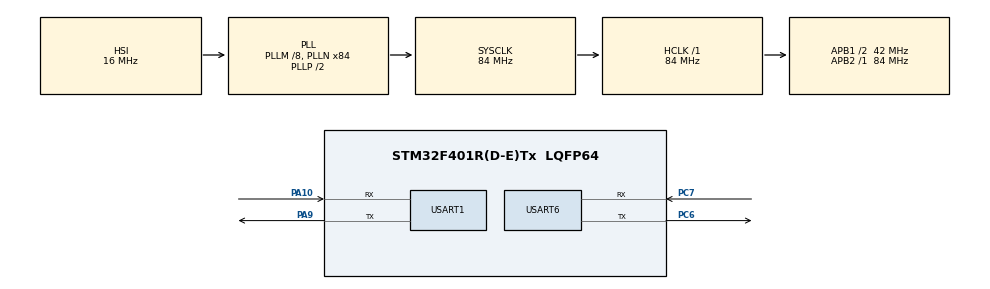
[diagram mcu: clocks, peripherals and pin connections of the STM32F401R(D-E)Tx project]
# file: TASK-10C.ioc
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Mcu.Family=STM32F4
Mcu.Name=STM32F401R(D-E)Tx
Mcu.Package=LQFP64
NVIC.PriorityGroup=NVIC_PRIORITYGROUP_4
NVIC.USART1_IRQn=true\:0\:0\:false\:false\:true\:true\:true\:true
PA10.Mode=Asynchronous
PA10.Signal=USART1_RX
PA13.Mode=Serial_Wire
PA13.Signal=SYS_JTMS-SWDIO
PA14.Mode=Serial_Wire
PA14.Signal=SYS_JTCK-SWCLK
PA9.Mode=Asynchronous
PA9.Signal=USART1_TX
PC6.Mode=Asynchronous
PC6.Signal=USART6_TX
PC7.Mode=Asynchronous
PC7.Signal=USART6_RX
PH0\ -\ OSC_IN.Mode=HSE-External-Clock-Source
PH0\ -\ OSC_IN.Signal=RCC_OSC_IN
PH1\ -\ OSC_OUT.Mode=HSE-External-Clock-Source
PH1\ -\ OSC_OUT.Signal=RCC_OSC_OUT
ProjectManager.HeapSize=0x200
ProjectManager.StackSize=0x400
ProjectManager.TargetToolchain=MDK-ARM V5.32
RCC.48MHZClocksFreq_Value=42000000
RCC.AHBFreq_Value=84000000
RCC.APB1CLKDivider=RCC_HCLK_DIV2
RCC.APB1Freq_Value=42000000
RCC.APB1TimFreq_Value=84000000
RCC.APB2Freq_Value=84000000
RCC.APB2TimFreq_Value=84000000
RCC.CortexFreq_Value=84000000
RCC.HCLKFreq_Value=84000000
RCC.HSE_VALUE=25000000
RCC.HSI_VALUE=16000000
RCC.LSE_VALUE=32768
RCC.PLLM=8
RCC.PLLN=84
RCC.SYSCLKFreq_VALUE=84000000
RCC.SYSCLKSource=RCC_SYSCLKSOURCE_PLLCLK
RCC.VCOOutputFreq_Value=168000000
USART1.VirtualMode=VM_ASYNC
USART6.VirtualMode=VM_ASYNC
board=custom

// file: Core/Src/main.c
/* USER CODE BEGIN Header */
/**
  ******************************************************************************
  * @file           : main.c
  * @brief          : Main program body
  ******************************************************************************
  * @attention
  *
  * Copyright (c) 2026 STMicroelectronics.
  * All rights reserved.
  *
  * This software is licensed under terms that can be found in the LICENSE file
  * in the root directory of this software component.
  * If no LICENSE file comes with this software, it is provided AS-IS.
  *
  ******************************************************************************
  */
/* USER CODE END Header */
#include "main.h"
/* USER CODE BEGIN Includes */
#include <string.h>
#include <stdio.h>
/* USER CODE END Includes */
UART_HandleTypeDef huart1;
UART_HandleTypeDef huart6;
/* USER CODE BEGIN PV */

// UART1 : PA9 (TX) , PA10 (RX) -> Wemos (ESP8266)
// UART6 : PC6 (TX) , PC7 (RX)  -> USB-TTL -> PuTTY

#define WIFI_NAME "YOUR_WIFI_SSID"
#define WIFI_PASS "YOUR_WIFI_PASSWORD"

char buf[512];

// web page sent to the browser
char page[] =
    "HTTP/1.1 200 OK\r\n"
    "Content-Type: text/html\r\n"
    "Connection: close\r\n"
    "\r\n"
    "<html><body><h1>Thavala mama vandhachu romba jolly romba jolly ah iruku </h1>"
    "</body></html>";

/* USER CODE END PV */

void SystemClock_Config(void);
static void MX_GPIO_Init(void);
static void MX_USART1_UART_Init(void);
static void MX_USART6_UART_Init(void);
/* USER CODE BEGIN 0 */

// send a string + Enter
void sendUART(UART_HandleTypeDef *huart, char inp[])
{
    HAL_UART_Transmit(huart, (uint8_t *)inp, strlen(inp), HAL_MAX_DELAY);
    HAL_UART_Transmit(huart, (uint8_t *)"\r\n", 2, HAL_MAX_DELAY);
}

// collect everything the Wemos sends for 'wait' ms
void recieveUART(char *buf, int size, uint32_t wait)
{
    memset(buf, 0, size);
    __HAL_UART_CLEAR_OREFLAG(&huart1);   // clear old overrun
    HAL_UART_Receive(&huart1, (uint8_t *)buf, size - 1, wait);
}

// send AT command to Wemos and show the reply on PC
void sendAT(char cmd[], uint32_t wait)
{
    sendUART(&huart6, cmd);
    sendUART(&huart1, cmd);
    recieveUART(buf, sizeof(buf), wait);
    sendUART(&huart6, buf);
}

// send the web page to browser connection 'id'
void sendPage(int id)
{
    char cmd[40];

    // 1. tell Wemos how many bytes are coming
    sprintf(cmd, "AT+CIPSEND=%d,%d", id, (int)strlen(page));
    sendUART(&huart1, cmd);
    HAL_Delay(100);              // wait for '>'

    // 2. send the page
    HAL_UART_Transmit(&huart1, (uint8_t *)page, strlen(page), HAL_MAX_DELAY);
    HAL_Delay(500);              // wait for SEND OK

    // 3. close the connection
    sprintf(cmd, "AT+CIPCLOSE=%d", id);
    sendUART(&huart1, cmd);
    HAL_Delay(100);

    sendUART(&huart6, "Page sent");
}

/* USER CODE END 0 */

int main(void)
{

    /* MCU Configuration--------------------------------------------------------*/
    /* Reset of all peripherals, Initializes the Flash interface and the Systick. */
    HAL_Init();

    /* Configure the system clock */
    SystemClock_Config();

    /* Initialize all configured peripherals */
    MX_GPIO_Init();
    MX_USART1_UART_Init();
    MX_USART6_UART_Init();

    /* USER CODE BEGIN 2 */

    HAL_Delay(3000);             // wait for Wemos to boot
    sendUART(&huart6, "Web Server Testing: ");

    // 1. check Wemos
    sendAT("AT", 1000);

    // 2. station mode
    sendAT("AT+CWMODE=1", 1000);

    // 3. connect to Wi-Fi
    sendAT("AT+CWJAP=\"" WIFI_NAME "\",\"" WIFI_PASS "\"", 15000);

    // 4. show IP address -> open it in browser
    sendAT("AT+CIFSR", 2000);

    // 5. allow many connections and start server on port 80
    sendAT("AT+CIPMUX=1", 1000);
    sendAT("AT+CIPSERVER=1,80", 1000);

/* USER CODE END 2 */

    /* Infinite loop */
    /* USER CODE BEGIN WHILE */
    while (1)
    {
        // 6. wait for a browser request
        recieveUART(buf, sizeof(buf), 1000);

        // request looks like  +IPD,<id>,<len>:GET / ...
        char *p = strstr(buf, "+IPD,");

        if (p != NULL)
        {
            int id = p[5] - '0';    // connection id (0 - 4)
            sendPage(id);
        }
        /* USER CODE END WHILE */

    }
}

void SystemClock_Config(void)
{
    RCC_OscInitTypeDef RCC_OscInitStruct = {0};
    RCC_ClkInitTypeDef RCC_ClkInitStruct = {0};

    /** Configure the main internal regulator output voltage
    */
    __HAL_RCC_PWR_CLK_ENABLE();
    __HAL_PWR_VOLTAGESCALING_CONFIG(PWR_REGULATOR_VOLTAGE_SCALE2);

    /** Initializes the RCC Oscillators according to the specified parameters
    */
    RCC_OscInitStruct.OscillatorType = RCC_OSCILLATORTYPE_HSI;
    RCC_OscInitStruct.HSIState = RCC_HSI_ON;
    RCC_OscInitStruct.HSICalibrationValue = RCC_HSICALIBRATION_DEFAULT;
    RCC_OscInitStruct.PLL.PLLState = RCC_PLL_ON;
    RCC_OscInitStruct.PLL.PLLSource = RCC_PLLSOURCE_HSI;
    RCC_OscInitStruct.PLL.PLLM = 8;
    RCC_OscInitStruct.PLL.PLLN = 84;
    RCC_OscInitStruct.PLL.PLLP = RCC_PLLP_DIV2;
    RCC_OscInitStruct.PLL.PLLQ = 4;
    if (HAL_RCC_OscConfig(&RCC_OscInitStruct) != HAL_OK)
    {
        Error_Handler();
    }

    /** Initializes the CPU, AHB and APB buses clocks
    */
    RCC_ClkInitStruct.ClockType = RCC_CLOCKTYPE_HCLK | RCC_CLOCKTYPE_SYSCLK
                                   | RCC_CLOCKTYPE_PCLK1 | RCC_CLOCKTYPE_PCLK2;
    RCC_ClkInitStruct.SYSCLKSource = RCC_SYSCLKSOURCE_PLLCLK;
    RCC_ClkInitStruct.AHBCLKDivider = RCC_SYSCLK_DIV1;
    RCC_ClkInitStruct.APB1CLKDivider = RCC_HCLK_DIV2;
    RCC_ClkInitStruct.APB2CLKDivider = RCC_HCLK_DIV1;
    if (HAL_RCC_ClockConfig(&RCC_ClkInitStruct, FLASH_LATENCY_2) != HAL_OK)
    {
        Error_Handler();
    }
}

static void MX_USART1_UART_Init(void)
{

    huart1.Instance = USART1;
    huart1.Init.BaudRate = 115200;
    huart1.Init.WordLength = UART_WORDLENGTH_8B;
    huart1.Init.StopBits = UART_STOPBITS_1;
    huart1.Init.Parity = UART_PARITY_NONE;
    huart1.Init.Mode = UART_MODE_TX_RX;
    huart1.Init.HwFlowCtl = UART_HWCONTROL_NONE;
    huart1.Init.OverSampling = UART_OVERSAMPLING_16;
    if (HAL_UART_Init(&huart1) != HAL_OK)
    {
        Error_Handler();
    }
}

static void MX_USART6_UART_Init(void)
{

    huart6.Instance = USART6;
    huart6.Init.BaudRate = 115200;
    huart6.Init.WordLength = UART_WORDLENGTH_8B;
    huart6.Init.StopBits = UART_STOPBITS_1;
    huart6.Init.Parity = UART_PARITY_NONE;
    huart6.Init.Mode = UART_MODE_TX_RX;
    huart6.Init.HwFlowCtl = UART_HWCONTROL_NONE;
    huart6.Init.OverSampling = UART_OVERSAMPLING_16;
    if (HAL_UART_Init(&huart6) != HAL_OK)
    {
        Error_Handler();
    }
}

static void MX_GPIO_Init(void)
{

    /* GPIO Ports Clock Enable */
    __HAL_RCC_GPIOH_CLK_ENABLE();
    __HAL_RCC_GPIOC_CLK_ENABLE();
    __HAL_RCC_GPIOA_CLK_ENABLE();

}

void Error_Handler(void)
{
    __disable_irq();
    while (1)
    {
    }
}
